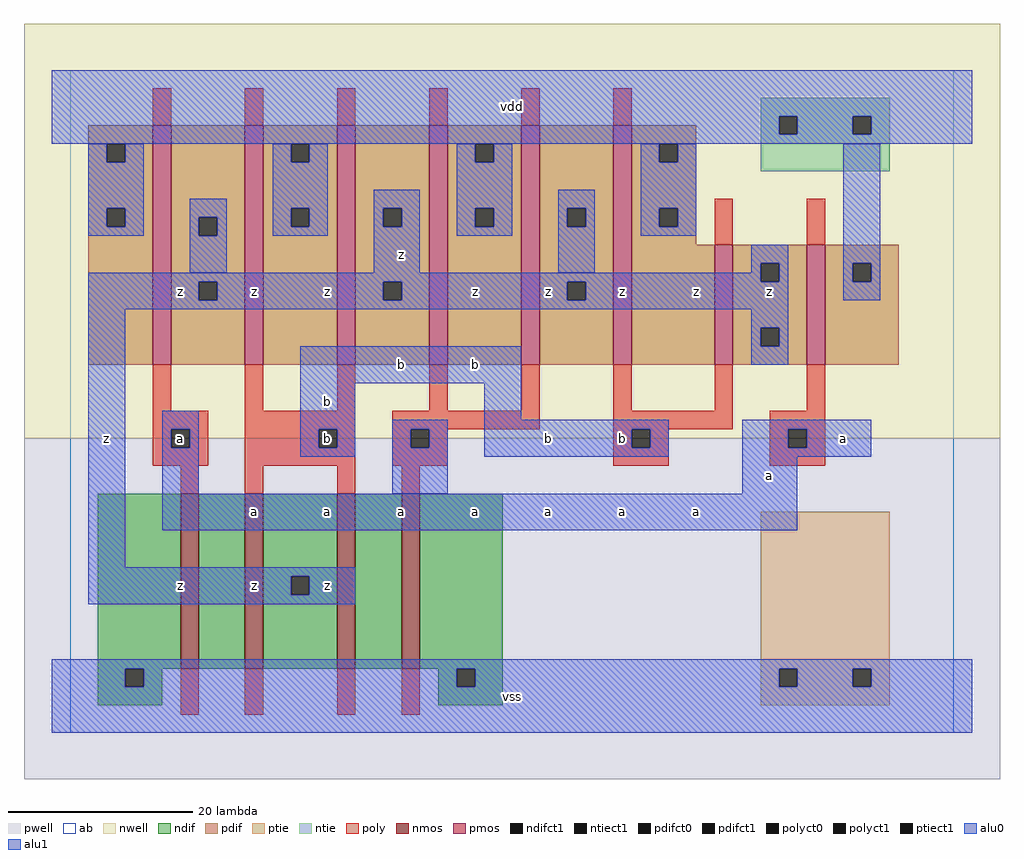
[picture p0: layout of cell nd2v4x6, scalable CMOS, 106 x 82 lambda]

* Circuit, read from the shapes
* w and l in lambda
.subckt nd2v4x6 a b vdd vss z
M1 n1 a vss vss nfet w=19 l=2
M2 z b n1 vss nfet w=19 l=2
M3 n2 b z vss nfet w=19 l=2
M4 vss a n2 vss nfet w=19 l=2
M5 z a vdd vdd pfet w=26 l=2 m=3
M6 vdd b z vdd pfet w=26 l=2 m=3
M7 z b vdd vdd pfet w=13 l=2
M8 vdd a z vdd pfet w=13 l=2
.ends

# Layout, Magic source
magic
tech scmos
<< ab >>
rect 0 0 96 72
<< nwell >>
rect -5 32 101 77
<< pwell >>
rect -5 -5 101 32
<< poly >>
rect 9 66 11 70
rect 19 66 21 70
rect 29 66 31 70
rect 39 66 41 70
rect 49 66 51 70
rect 59 66 61 70
rect 70 53 72 58
rect 80 53 82 58
rect 9 35 11 40
rect 19 35 21 40
rect 29 35 31 40
rect 39 35 41 40
rect 49 35 51 40
rect 9 33 15 35
rect 9 31 11 33
rect 13 31 15 33
rect 9 29 15 31
rect 19 33 31 35
rect 19 31 27 33
rect 29 31 31 33
rect 19 29 31 31
rect 35 33 51 35
rect 59 35 61 40
rect 70 35 72 40
rect 80 35 82 40
rect 59 33 72 35
rect 76 33 82 35
rect 35 31 37 33
rect 39 31 41 33
rect 35 29 41 31
rect 59 31 61 33
rect 63 31 65 33
rect 59 29 65 31
rect 76 31 78 33
rect 80 31 82 33
rect 76 29 82 31
rect 12 26 14 29
rect 19 26 21 29
rect 29 26 31 29
rect 36 26 38 29
rect 12 2 14 7
rect 19 2 21 7
rect 29 2 31 7
rect 36 2 38 7
<< ndif >>
rect 3 7 12 26
rect 14 7 19 26
rect 21 17 29 26
rect 21 15 24 17
rect 26 15 29 17
rect 21 7 29 15
rect 31 7 36 26
rect 38 7 47 26
rect 3 5 6 7
rect 8 5 10 7
rect 3 3 10 5
rect 40 5 42 7
rect 44 5 47 7
rect 40 3 47 5
<< pdif >>
rect 2 64 9 66
rect 2 62 4 64
rect 6 62 9 64
rect 2 57 9 62
rect 2 55 4 57
rect 6 55 9 57
rect 2 40 9 55
rect 11 56 19 66
rect 11 54 14 56
rect 16 54 19 56
rect 11 49 19 54
rect 11 47 14 49
rect 16 47 19 49
rect 11 40 19 47
rect 21 64 29 66
rect 21 62 24 64
rect 26 62 29 64
rect 21 57 29 62
rect 21 55 24 57
rect 26 55 29 57
rect 21 40 29 55
rect 31 57 39 66
rect 31 55 34 57
rect 36 55 39 57
rect 31 49 39 55
rect 31 47 34 49
rect 36 47 39 49
rect 31 40 39 47
rect 41 64 49 66
rect 41 62 44 64
rect 46 62 49 64
rect 41 57 49 62
rect 41 55 44 57
rect 46 55 49 57
rect 41 40 49 55
rect 51 57 59 66
rect 51 55 54 57
rect 56 55 59 57
rect 51 49 59 55
rect 51 47 54 49
rect 56 47 59 49
rect 51 40 59 47
rect 61 64 68 66
rect 61 62 64 64
rect 66 62 68 64
rect 61 57 68 62
rect 61 55 64 57
rect 66 55 68 57
rect 61 53 68 55
rect 61 40 70 53
rect 72 51 80 53
rect 72 49 75 51
rect 77 49 80 51
rect 72 44 80 49
rect 72 42 75 44
rect 77 42 80 44
rect 72 40 80 42
rect 82 51 90 53
rect 82 49 85 51
rect 87 49 90 51
rect 82 40 90 49
<< alu1 >>
rect -2 67 98 72
rect -2 65 77 67
rect 79 65 85 67
rect 87 65 98 67
rect -2 64 98 65
rect 33 57 38 59
rect 33 55 34 57
rect 36 55 38 57
rect 33 50 38 55
rect 74 51 78 53
rect 74 50 75 51
rect 2 49 75 50
rect 77 49 78 51
rect 2 47 14 49
rect 16 47 34 49
rect 36 47 54 49
rect 56 47 78 49
rect 2 46 78 47
rect 2 18 6 46
rect 74 44 78 46
rect 74 42 75 44
rect 77 42 78 44
rect 25 38 49 42
rect 74 40 78 42
rect 10 33 14 35
rect 10 31 11 33
rect 13 31 14 33
rect 10 26 14 31
rect 25 33 31 38
rect 45 34 49 38
rect 25 31 27 33
rect 29 31 31 33
rect 25 30 31 31
rect 45 33 65 34
rect 45 31 61 33
rect 63 31 65 33
rect 45 30 65 31
rect 73 33 87 34
rect 73 31 78 33
rect 80 31 87 33
rect 73 30 87 31
rect 73 26 79 30
rect 10 22 79 26
rect 2 17 31 18
rect 2 15 24 17
rect 26 15 31 17
rect 2 14 31 15
rect -2 7 98 8
rect -2 5 6 7
rect 8 5 42 7
rect 44 5 77 7
rect 79 5 85 7
rect 87 5 98 7
rect -2 0 98 5
<< ptie >>
rect 75 7 89 24
rect 75 5 77 7
rect 79 5 85 7
rect 87 5 89 7
rect 75 3 89 5
<< ntie >>
rect 75 67 89 69
rect 75 65 77 67
rect 79 65 85 67
rect 87 65 89 67
rect 75 61 89 65
<< nmos >>
rect 12 7 14 26
rect 19 7 21 26
rect 29 7 31 26
rect 36 7 38 26
<< pmos >>
rect 9 40 11 66
rect 19 40 21 66
rect 29 40 31 66
rect 39 40 41 66
rect 49 40 51 66
rect 59 40 61 66
rect 70 40 72 53
rect 80 40 82 53
<< polyct0 >>
rect 37 31 39 33
<< polyct1 >>
rect 11 31 13 33
rect 27 31 29 33
rect 61 31 63 33
rect 78 31 80 33
<< ndifct1 >>
rect 24 15 26 17
rect 6 5 8 7
rect 42 5 44 7
<< ntiect1 >>
rect 77 65 79 67
rect 85 65 87 67
<< ptiect1 >>
rect 77 5 79 7
rect 85 5 87 7
<< pdifct0 >>
rect 4 62 6 64
rect 4 55 6 57
rect 14 54 16 56
rect 24 62 26 64
rect 24 55 26 57
rect 44 62 46 64
rect 44 55 46 57
rect 54 55 56 57
rect 64 62 66 64
rect 64 55 66 57
rect 85 49 87 51
<< pdifct1 >>
rect 14 47 16 49
rect 34 55 36 57
rect 34 47 36 49
rect 54 47 56 49
rect 75 49 77 51
rect 75 42 77 44
<< alu0 >>
rect 2 62 4 64
rect 6 62 8 64
rect 2 57 8 62
rect 22 62 24 64
rect 26 62 28 64
rect 2 55 4 57
rect 6 55 8 57
rect 2 54 8 55
rect 13 56 17 58
rect 13 54 14 56
rect 16 54 17 56
rect 22 57 28 62
rect 42 62 44 64
rect 46 62 48 64
rect 22 55 24 57
rect 26 55 28 57
rect 22 54 28 55
rect 13 50 17 54
rect 42 57 48 62
rect 62 62 64 64
rect 66 62 68 64
rect 42 55 44 57
rect 46 55 48 57
rect 42 54 48 55
rect 53 57 57 59
rect 53 55 54 57
rect 56 55 57 57
rect 53 50 57 55
rect 62 57 68 62
rect 62 55 64 57
rect 66 55 68 57
rect 62 54 68 55
rect 84 51 88 64
rect 84 49 85 51
rect 87 49 88 51
rect 84 47 88 49
rect 35 33 41 34
rect 35 31 37 33
rect 39 31 41 33
rect 35 26 41 31
<< labels >>
rlabel alu1 12 16 12 16 6 z
rlabel polyct1 12 32 12 32 6 a
rlabel alu1 4 32 4 32 6 z
rlabel alu1 12 48 12 48 6 z
rlabel alu1 28 16 28 16 6 z
rlabel alu1 20 16 20 16 6 z
rlabel alu1 20 24 20 24 6 a
rlabel alu1 28 24 28 24 6 a
rlabel polyct1 28 32 28 32 6 b
rlabel alu1 28 36 28 36 6 b
rlabel alu1 20 48 20 48 6 z
rlabel alu1 28 48 28 48 6 z
rlabel alu1 48 4 48 4 6 vss
rlabel alu1 36 24 36 24 6 a
rlabel alu1 44 24 44 24 6 a
rlabel alu1 52 24 52 24 6 a
rlabel alu1 52 32 52 32 6 b
rlabel alu1 36 40 36 40 6 b
rlabel alu1 44 40 44 40 6 b
rlabel alu1 36 52 36 52 6 z
rlabel alu1 44 48 44 48 6 z
rlabel alu1 52 48 52 48 6 z
rlabel alu1 48 68 48 68 6 vdd
rlabel alu1 60 24 60 24 6 a
rlabel alu1 68 24 68 24 6 a
rlabel alu1 76 28 76 28 6 a
rlabel alu1 60 32 60 32 6 b
rlabel alu1 60 48 60 48 6 z
rlabel alu1 68 48 68 48 6 z
rlabel alu1 76 48 76 48 6 z
rlabel alu1 84 32 84 32 6 a
<< end >>
